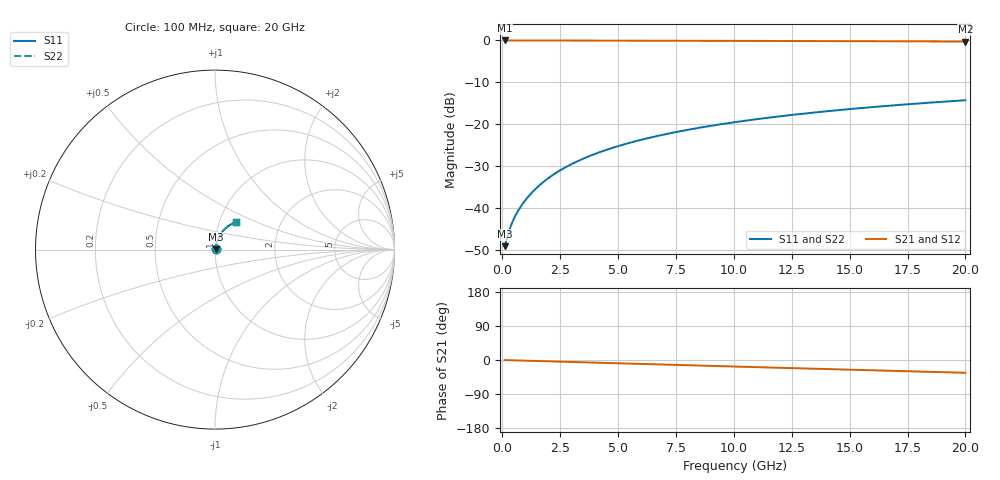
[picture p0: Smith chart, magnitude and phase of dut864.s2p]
! Touchstone file exported from HFSS 2026.1.0
!  File:  C:/ffzhzh/LocalFiles/Ansys_Project_Files/temp_train_BSMRDL_864_1783170788_51560.aedt
!  Generated:  09:14:17 PM Jul  4, 2026
!  Design:  BSMRDL
!  Project:  temp_train_BSMRDL_864_1783170788_51560
! Variables:
!  h_bsmrdl = 2.96um
!  h_ox = 20um
!  h_rdl = 5um
!  h_sub = 80um
!  h_tmrdl = 5um
!  h_tsv = 80um
!  h_via = 3um
!  l_bsmrdl = 553.23um
!  l_sub = 953.23um
!  l_tmrdl = 200um
!  m_sub = 200um
!  pitch = 32.63um
!  r_tsv = 6um
!  s_tmrdl = 10um
!  w_bsmrdl = 22.12um
!  w_sub = 500um
!  w_tmrdl = 12um
!  x_tsv_center1 = 206um
!  x_tsv_center2 = 781.35um
!  x_tsv_center3 = 993.35um
!  x_tsv_center4 = 1568.7um
!  x_tsv_center5 = 1780.7um
!  x_tsv_center6 = 2356.05um
# GHz S MA R 50.000000
! Terminal data exported
! Port[1] = BSM_RDL1_1_T1
! Port[2] = BSM_RDL1_1_T2
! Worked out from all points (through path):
!   200 points, 100 MHz to 20 GHz, reference 50 ohm
!   highest |S21| = -0.03 dB at 100 MHz (marker M1); lowest = -0.3 dB at 20 GHz (marker M2)
!   group delay of S21, straight-line fit = 4.68 ps
!   lowest |S11| = -49.0 dB at 100 MHz (marker M3), VSWR 1.01, Z = 50.3 + j0.144 ohm
!   |S11| at or under -10 dB: start of sweep to end of sweep
!   |S22| runs from -49.0 to -14.3 dB; largest |S21 - S12| = 3.5e-15
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0.1  0.003549 23.7  0.9968 -0.2  0.9968 -0.2  0.003549 23.7
! Gamma 0 0 0 0
! Port Impedance 50 0 50 0
0.3  0.005452 47.5  0.9963 -0.6  0.9963 -0.6  0.005452 47.5
0.4  0.006496 52.8  0.9961 -0.7  0.9961 -0.7  0.006496 52.8
0.5  0.007521 56.6  0.9959 -0.9  0.9959 -0.9  0.007521 56.6
0.6  0.008528 59.5  0.9958 -1.1  0.9958 -1.1  0.008529 59.5
0.8  0.01053 63.9  0.9956 -1.4  0.9956 -1.4  0.01053 63.9
1  0.01255 67.0  0.9954 -1.8  0.9954 -1.8  0.01255 67.0
1.2  0.0146 69.3  0.9953 -2.1  0.9953 -2.1  0.0146 69.3
1.4  0.01667 71.0  0.9952 -2.5  0.9952 -2.5  0.01667 71.0
1.7  0.01982 72.9  0.995 -3.0  0.995 -3.0  0.01982 72.9
2.2  0.02514 74.7  0.9947 -3.9  0.9947 -3.9  0.02515 74.7
2.8  0.03158 75.6  0.9943 -4.9  0.9943 -4.9  0.03158 75.6
3.5  0.03909 75.8  0.9938 -6.1  0.9938 -6.1  0.03909 75.8
4.2  0.04658 75.5  0.9931 -7.3  0.9931 -7.3  0.04658 75.5
5  0.05506 74.9  0.9923 -8.7  0.9923 -8.7  0.05507 74.8
5.9  0.0645 73.8  0.9913 -10.3  0.9913 -10.3  0.0645 73.8
6.8  0.07381 72.7  0.9901 -11.8  0.9901 -11.8  0.07381 72.6
8.3  0.08901 70.5  0.9881 -14.4  0.9881 -14.4  0.08901 70.5
10.1  0.1067 67.8  0.9853 -17.4  0.9853 -17.4  0.1067 67.8
13.4  0.1377 62.7  0.9799 -22.9  0.9799 -22.9  0.1377 62.7
16.7  0.1667 57.6  0.9741 -28.4  0.9741 -28.4  0.1667 57.6
20  0.1936 52.5  0.9681 -33.8  0.9681 -33.8  0.1936 52.5
